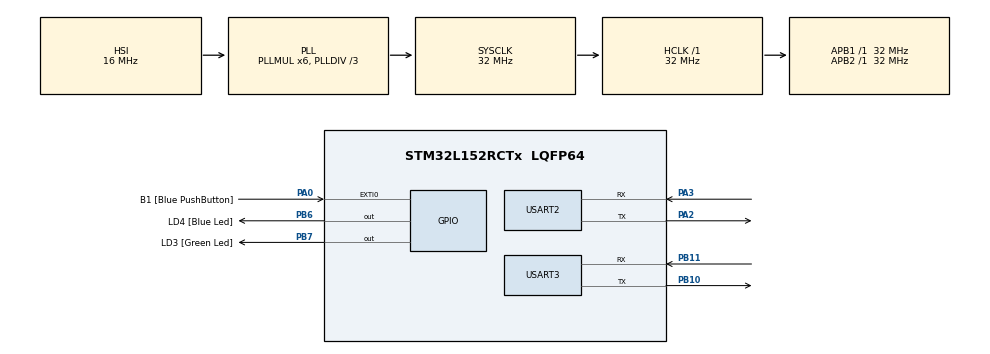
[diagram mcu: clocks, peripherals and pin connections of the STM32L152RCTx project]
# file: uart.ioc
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Mcu.Family=STM32L1
Mcu.Name=STM32L152RCTx
Mcu.Package=LQFP64
NVIC.PriorityGroup=NVIC_PRIORITYGROUP_0
NVIC.USART3_IRQn=true\:0\:0\:false\:false\:true\:true\:true
PA0-WKUP1.GPIO_Label=B1 [Blue PushButton]
PA0-WKUP1.GPIO_ModeDefaultEXTI=GPIO_MODE_EVT_RISING
PA0-WKUP1.GPIO_PuPd=GPIO_NOPULL
PA0-WKUP1.Signal=GPXTI0
PA2.Mode=Asynchronous
PA2.Signal=USART2_TX
PA3.Mode=Asynchronous
PA3.Signal=USART2_RX
PB10.Mode=Asynchronous
PB10.Signal=USART3_TX
PB11.Mode=Asynchronous
PB11.Signal=USART3_RX
PB6.GPIO_Label=LD4 [Blue Led]
PB6.GPIO_ModeDefaultOutputPP=GPIO_MODE_OUTPUT_PP
PB6.GPIO_PuPd=GPIO_NOPULL
PB6.GPIO_Speed=GPIO_SPEED_FREQ_LOW
PB6.Signal=GPIO_Output
PB7.GPIO_Label=LD3 [Green Led]
PB7.GPIO_ModeDefaultOutputPP=GPIO_MODE_OUTPUT_PP
PB7.GPIO_PuPd=GPIO_NOPULL
PB7.GPIO_Speed=GPIO_SPEED_FREQ_LOW
PB7.Signal=GPIO_Output
ProjectManager.HeapSize=0x200
ProjectManager.StackSize=0x400
ProjectManager.TargetToolchain=STM32CubeIDE
RCC.48MHZClocksFreq_Value=48000000
RCC.AHBFreq_Value=32000000
RCC.APB1Freq_Value=32000000
RCC.APB1TimFreq_Value=32000000
RCC.APB2Freq_Value=32000000
RCC.APB2TimFreq_Value=32000000
RCC.HCLKFreq_Value=32000000
RCC.HSE_VALUE=8000000
RCC.HSI_VALUE=16000000
RCC.LSE_VALUE=32768
RCC.MSI_VALUE=2097000
RCC.PLLDIV=RCC_PLL_DIV3
RCC.PLLMUL=RCC_PLL_MUL6
RCC.RTCClockSelectionVirtual=RCC_RTCCLKSOURCE_LSE
RCC.SYSCLKFreq_VALUE=32000000
RCC.SYSCLKSource=RCC_SYSCLKSOURCE_PLLCLK
RCC.USBOutput=48000000
RCC.VCOOutputFreq_Value=96000000
USART2.VirtualMode=VM_ASYNC
USART3.VirtualMode=VM_ASYNC
board=STM32L152C-DISCO

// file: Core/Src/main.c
/* USER CODE BEGIN Header */
/**
  ******************************************************************************
  * @file           : main.c
  * @brief          : Main program body
  ******************************************************************************
  * @attention
  *
  * Copyright (c) 2022 STMicroelectronics.
  * All rights reserved.
  *
  * This software is licensed under terms that can be found in the LICENSE file
  * in the root directory of this software component.
  * If no LICENSE file comes with this software, it is provided AS-IS.
  *
  ******************************************************************************
  */
/* USER CODE END Header */
#include "main.h"

/* USER CODE BEGIN Includes */
#include <stdio.h>
#include <stdbool.h>
#include <string.h>
/* USER CODE END Includes */

UART_HandleTypeDef huart2;
UART_HandleTypeDef huart3;

void SystemClock_Config(void);
static void MX_GPIO_Init(void);
static void MX_USART2_UART_Init(void);
static void MX_USART3_UART_Init(void);
/* USER CODE BEGIN PFP */
void JumpToBootloader(void);
/* USER CODE END PFP */

int main(void)
{

  /* MCU Configuration--------------------------------------------------------*/

  /* Reset of all peripherals, Initializes the Flash interface and the Systick. */
  HAL_Init();

  /* Configure the system clock */
  SystemClock_Config();

  /* Initialize all configured peripherals */
  MX_GPIO_Init();
  MX_USART2_UART_Init();
  MX_USART3_UART_Init();
  /* USER CODE BEGIN 2 */
  JumpToBootloader();
  /* USER CODE END 2 */

  /* Infinite loop */
  while (1)
  {

  }
}

void SystemClock_Config(void)
{
  RCC_OscInitTypeDef RCC_OscInitStruct = {0};
  RCC_ClkInitTypeDef RCC_ClkInitStruct = {0};

  /** Configure the main internal regulator output voltage
  */
  __HAL_PWR_VOLTAGESCALING_CONFIG(PWR_REGULATOR_VOLTAGE_SCALE1);
  /** Initializes the RCC Oscillators according to the specified parameters
  * in the RCC_OscInitTypeDef structure.
  */
  RCC_OscInitStruct.OscillatorType = RCC_OSCILLATORTYPE_HSI;
  RCC_OscInitStruct.HSIState = RCC_HSI_ON;
  RCC_OscInitStruct.HSICalibrationValue = RCC_HSICALIBRATION_DEFAULT;
  RCC_OscInitStruct.PLL.PLLState = RCC_PLL_ON;
  RCC_OscInitStruct.PLL.PLLSource = RCC_PLLSOURCE_HSI;
  RCC_OscInitStruct.PLL.PLLMUL = RCC_PLL_MUL6;
  RCC_OscInitStruct.PLL.PLLDIV = RCC_PLL_DIV3;
  if (HAL_RCC_OscConfig(&RCC_OscInitStruct) != HAL_OK)
  {
    Error_Handler();
  }
  /** Initializes the CPU, AHB and APB buses clocks
  */
  RCC_ClkInitStruct.ClockType = RCC_CLOCKTYPE_HCLK|RCC_CLOCKTYPE_SYSCLK
                              |RCC_CLOCKTYPE_PCLK1|RCC_CLOCKTYPE_PCLK2;
  RCC_ClkInitStruct.SYSCLKSource = RCC_SYSCLKSOURCE_PLLCLK;
  RCC_ClkInitStruct.AHBCLKDivider = RCC_SYSCLK_DIV1;
  RCC_ClkInitStruct.APB1CLKDivider = RCC_HCLK_DIV1;
  RCC_ClkInitStruct.APB2CLKDivider = RCC_HCLK_DIV1;

  if (HAL_RCC_ClockConfig(&RCC_ClkInitStruct, FLASH_LATENCY_1) != HAL_OK)
  {
    Error_Handler();
  }
}

static void MX_USART2_UART_Init(void)
{

  huart2.Instance = USART2;
  huart2.Init.BaudRate = 115200;
  huart2.Init.WordLength = UART_WORDLENGTH_8B;
  huart2.Init.StopBits = UART_STOPBITS_1;
  huart2.Init.Parity = UART_PARITY_NONE;
  huart2.Init.Mode = UART_MODE_TX_RX;
  huart2.Init.HwFlowCtl = UART_HWCONTROL_NONE;
  huart2.Init.OverSampling = UART_OVERSAMPLING_16;
  if (HAL_UART_Init(&huart2) != HAL_OK)
  {
    Error_Handler();
  }

}

static void MX_USART3_UART_Init(void)
{

  huart3.Instance = USART3;
  huart3.Init.BaudRate = 115200;
  huart3.Init.WordLength = UART_WORDLENGTH_8B;
  huart3.Init.StopBits = UART_STOPBITS_1;
  huart3.Init.Parity = UART_PARITY_NONE;
  huart3.Init.Mode = UART_MODE_TX_RX;
  huart3.Init.HwFlowCtl = UART_HWCONTROL_NONE;
  huart3.Init.OverSampling = UART_OVERSAMPLING_16;
  if (HAL_UART_Init(&huart3) != HAL_OK)
  {
    Error_Handler();
  }

}

static void MX_GPIO_Init(void)
{
  GPIO_InitTypeDef GPIO_InitStruct = {0};

  /* GPIO Ports Clock Enable */
  __HAL_RCC_GPIOA_CLK_ENABLE();
  __HAL_RCC_GPIOB_CLK_ENABLE();

  /*Configure GPIO pin Output Level */
  HAL_GPIO_WritePin(GPIOB, LD4_Pin|LD3_Pin, GPIO_PIN_RESET);

  /*Configure GPIO pin : B1_Pin */
  GPIO_InitStruct.Pin = B1_Pin;
  GPIO_InitStruct.Mode = GPIO_MODE_EVT_RISING;
  GPIO_InitStruct.Pull = GPIO_NOPULL;
  HAL_GPIO_Init(B1_GPIO_Port, &GPIO_InitStruct);

  /*Configure GPIO pins : LD4_Pin LD3_Pin */
  GPIO_InitStruct.Pin = LD4_Pin|LD3_Pin;
  GPIO_InitStruct.Mode = GPIO_MODE_OUTPUT_PP;
  GPIO_InitStruct.Pull = GPIO_NOPULL;
  GPIO_InitStruct.Speed = GPIO_SPEED_FREQ_LOW;
  HAL_GPIO_Init(GPIOB, &GPIO_InitStruct);

}

/* USER CODE BEGIN 4 */
void JumpToBootloader(void){

		void (*SysMemBootJump)(void);

		volatile uint32_t addr = 0x1FF00000;

		HAL_RCC_DeInit();

		SysTick->CTRL = 0;
		SysTick->LOAD = 0;
		SysTick->VAL = 0;

		__disable_irq();

		__HAL_SYSCFG_REMAPMEMORY_SYSTEMFLASH();

		SysMemBootJump = (void (*)(void)) (*((uint32_t *)(addr + 4)));

		__set_MSP(*(uint32_t *)addr);

		SysMemBootJump();
}

/* USER CODE END 4 */

void Error_Handler(void)
{
  __disable_irq();
  while (1)
  {
  }
}
